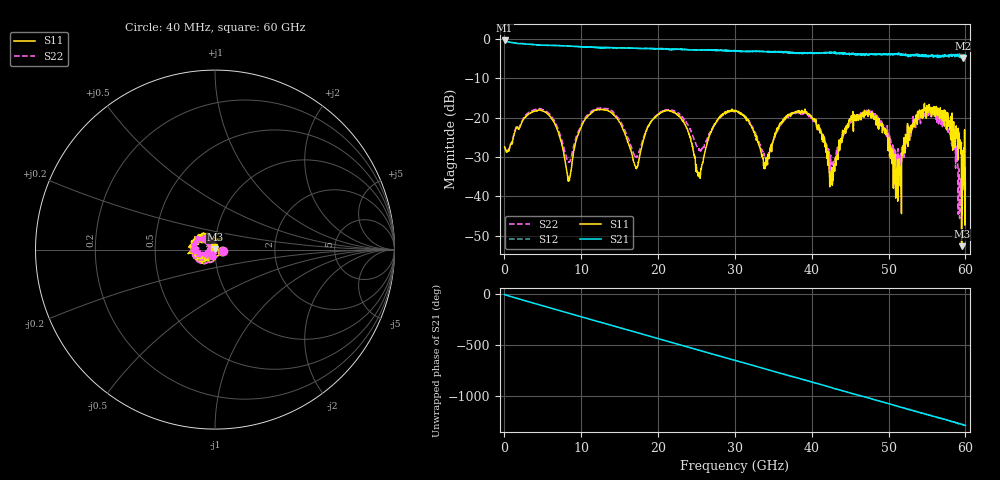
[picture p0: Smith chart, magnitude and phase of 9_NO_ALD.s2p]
! File created by 'SoftPlot +Plus+ Measurement Management Software'
! SoftPlot +Plus+ Measurement Management Software
! Start 40.000000 MHz  Stop 60.000000 GHz  Points 1601
# MHZ S RI R 50
! S-Parameter data, F S11 S21 S12 S22
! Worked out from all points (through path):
!   1601 points, 40 MHz to 60 GHz, reference 50 ohm
!   highest |S21| = -0.43 dB at 40 MHz (marker M1); lowest = -4.8 dB at 59.66 GHz (marker M2)
!   group delay of S21, straight-line fit = 59.5 ps
!   lowest |S11| = -52.6 dB at 59.51 GHz (marker M3), VSWR 1.00, Z = 50.2 + j0.133 ohm
!   |S11| at or under -10 dB: start of sweep to end of sweep
!   |S22| runs from -45.6 to -17.5 dB; largest |S21 - S12| = 0.067
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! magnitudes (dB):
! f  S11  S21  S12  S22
! 40 MHz  -27.4  -0.4  -0.4  -27.4
! 5.062 GHz  -18.4  -1.6  -1.6  -18.0
! 8.397 GHz  -36.1  -1.9  -1.9  -31.4
! 10.05 GHz  -22.2  -2.1  -2.0  -21.9
! 13.94 GHz  -18.8  -2.3  -2.2  -18.2
! 17.17 GHz  -33.0  -2.4  -2.4  -30.1
! 20.05 GHz  -19.2  -2.5  -2.5  -19.0
! 23.2 GHz  -20.9  -2.8  -2.6  -20.0
! 25.34 GHz  -33.9  -2.8  -2.8  -28.3
! 30.02 GHz  -18.1  -3.1  -3.0  -18.4
! 33.95 GHz  -31.7  -3.2  -3.2  -30.3
! 36.69 GHz  -19.6  -3.5  -3.3  -20.2
! 40.03 GHz  -19.9  -3.6  -3.6  -20.4
! 42.57 GHz  -33.4  -3.5  -3.4  -34.7
! 45.05 GHz  -20.8  -3.8  -3.8  -21.0
! 50.03 GHz  -26.0  -4.0  -3.8  -24.7
! 51.38 GHz  -33.3  -3.9  -3.8  -29.7
! 52.69 GHz  -24.0  -4.4  -4.2  -23.6
! 55.88 GHz  -19.2  -4.4  -4.3  -18.4
! 59.51 GHz  -52.6  -4.4  -4.1  -35.4
! 59.66 GHz  -34.7  -4.8  -4.6  -29.9
! 60 GHz  -38.3  -4.3  -4.3  -27.9
